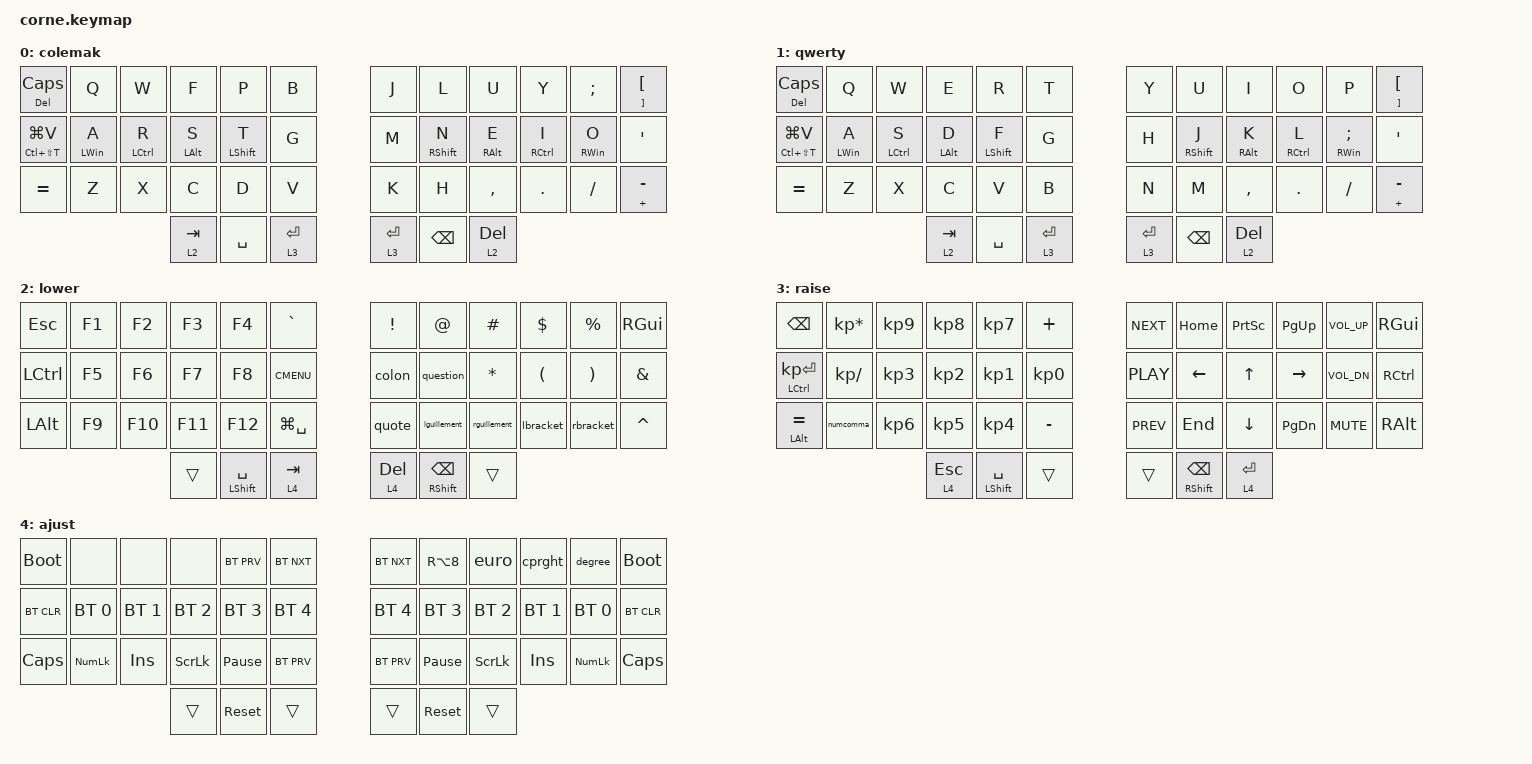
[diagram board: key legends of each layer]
/*
 * Copyright (c) 2020 The ZMK Contributors
 *
 * SPDX-License-Identifier: MIT
 */

#include <behaviors.dtsi>
#include <dt-bindings/zmk/keys.h>
#include <dt-bindings/zmk/bt.h>
#include <dt-bindings/zmk/ext_power.h>

#define colemak   0
#define qwerty 1
#define lower  2
#define raise  3
#define adjust 4

&lt {
    quick_tap_ms = <220>;
};

&mt {
    quick_tap_ms = <220>;
};
/ {
    macros {
        numdot: numdot {
            label = "ZM_numdot";
            compatible = "zmk,behavior-macro";
            #binding-cells = <0>;
            wait-ms = <40>;
            tap-ms = <40>;
            bindings =
                <&macro_press>,
                <&kp LALT>,
                <&macro_tap>,
                <&kp KP_N4 &kp KP_N6>,
                <&macro_release>,
                <&kp LALT>;
        };
        grtsgn: grtsgn {
            label = "ZM_grtsgn";
            compatible = "zmk,behavior-macro";
            #binding-cells = <0>;
            wait-ms = <40>;
            tap-ms = <40>;
            bindings =
                <&macro_press>,
                <&kp LALT>,
                <&macro_tap>,
                <&kp KP_N6 &kp KP_N2>,
                <&macro_release>,
                <&kp LALT>;
        };
          cprght: cprght {
            label = "ZM_cprght";
            compatible = "zmk,behavior-macro";
            #binding-cells = <0>;
            wait-ms = <40>;
            tap-ms = <40>;
            bindings =
                <&macro_press>,
                <&kp LALT>,
                <&macro_tap>,
                <&kp KP_N0 &kp KP_N1 &kp KP_N6 &kp KP_N9>,
                <&macro_release>,
                <&kp LALT>;
        };
        degree: degree {
            label = "ZM_degree";
            compatible = "zmk,behavior-macro";
            #binding-cells = <0>;
            wait-ms = <40>;
            tap-ms = <40>;
            bindings =
                <&macro_press>,
                <&kp LALT>,
                <&macro_tap>,
                <&kp KP_N0 &kp KP_N1 &kp KP_N7 &kp KP_N6>,
                <&macro_release>,
                <&kp LALT>;
        };
        quote: quote {
            label = "ZM_quote";
            compatible = "zmk,behavior-macro";
            #binding-cells = <0>;
            wait-ms = <40>;
            tap-ms = <40>;
            bindings =
                <&macro_press>,
                <&kp LALT>,
                <&macro_tap>,
                <&kp KP_N3 &kp KP_N4>,
                <&macro_release>,
                <&kp LALT>;
        };
	euro: euro {
            label = "ZM_euro";
            compatible = "zmk,behavior-macro";
            #binding-cells = <0>;
            wait-ms = <40>;
            tap-ms = <40>;
            bindings =
                <&macro_press>,
                <&kp LALT>,
                <&macro_tap>,
                <&kp KP_N0 &kp KP_N1 &kp KP_N2 &kp KP_N8>,
                <&macro_release>,
                <&kp LALT>;
	    };
	numcomma: numcomma {
            label = "ZM_numcomma";
            compatible = "zmk,behavior-macro";
            #binding-cells = <0>;
            wait-ms = <40>;
            tap-ms = <40>;
            bindings =
                <&macro_press>,
                <&kp LALT>,
                <&macro_tap>,
                <&kp KP_N4 &kp KP_N4>,
                <&macro_release>,
                <&kp LALT>;
	    };
	lguillement: lguillement {
            label = "ZM_lguillement";
            compatible = "zmk,behavior-macro";
            #binding-cells = <0>;
            wait-ms = <40>;
            tap-ms = <40>;
            bindings =
                <&macro_press>,
                <&kp LALT>,
                <&macro_tap>,
                <&kp KP_N0 &kp KP_N1 &kp KP_N7 &kp KP_N1>,
                <&macro_release>,
                <&kp LALT>;
	    };
	rguillement: rguillement {
            label = "ZM_rguillement";
            compatible = "zmk,behavior-macro";
            #binding-cells = <0>;
            wait-ms = <40>;
            tap-ms = <40>;
            bindings =
                <&macro_press>,
                <&kp LALT>,
                <&macro_tap>,
                <&kp KP_N0 &kp KP_N1 &kp KP_N8 &kp KP_N7>,
                <&macro_release>,
                <&kp LALT>;
	    };
	lbracket: lbracket {
            label = "ZM_lbracket";
            compatible = "zmk,behavior-macro";
            #binding-cells = <0>;
            wait-ms = <40>;
            tap-ms = <40>;
            bindings =
                <&macro_press>,
                <&kp LALT>,
                <&macro_tap>,
                <&kp KP_N1 &kp KP_N2 &kp KP_N3>,
                <&macro_release>,
                <&kp LALT>;
	    };
	rbracket: rbracket {
            label = "ZM_rbracket";
            compatible = "zmk,behavior-macro";
            #binding-cells = <0>;
            wait-ms = <40>;
            tap-ms = <40>;
            bindings =
                <&macro_press>,
                <&kp LALT>,
                <&macro_tap>,
                <&kp KP_N1 &kp KP_N2 &kp KP_N5>,
                <&macro_release>,
                <&kp LALT>;
	    };
	colon: colon {
            label = "ZM_colon";
            compatible = "zmk,behavior-macro";
            #binding-cells = <0>;
            wait-ms = <40>;
            tap-ms = <40>;
            bindings =
                <&macro_press>,
                <&kp LALT>,
                <&macro_tap>,
                <&kp KP_N5 &kp KP_N8>,
                <&macro_release>,
                <&kp LALT>;
	    };
	semicolon: semicolon {
            label = "ZM_semicolon";
            compatible = "zmk,behavior-macro";
            #binding-cells = <0>;
            wait-ms = <40>;
            tap-ms = <40>;
            bindings =
                <&macro_press>,
                <&kp LALT>,
                <&macro_tap>,
                <&kp KP_N5 &kp KP_N9>,
                <&macro_release>,
                <&kp LALT>;
	    };
	question: question {
            label = "ZM_question";
            compatible = "zmk,behavior-macro";
            #binding-cells = <0>;
            wait-ms = <40>;
            tap-ms = <40>;
            bindings =
                <&macro_press>,
                <&kp LALT>,
                <&macro_tap>,
                <&kp KP_N6 &kp KP_N3>,
                <&macro_release>,
                <&kp LALT>;
	    };
         lsqbracket: lsqbracket {
            label = "ZM_lsqbracket";
            compatible = "zmk,behavior-macro";
            #binding-cells = <0>;
            wait-ms = <40>;
            tap-ms = <40>;
            bindings =
                <&macro_press>,
                <&kp LALT>,
                <&macro_tap>,
                <&kp KP_N9 &kp KP_N1>,
                <&macro_release>,
                <&kp LALT>;
	    };
         rsqbracket: rsqbracket {
            label = "ZM_rsqbracket";
            compatible = "zmk,behavior-macro";
            #binding-cells = <0>;
            wait-ms = <40>;
            tap-ms = <40>;
            bindings =
                <&macro_press>,
                <&kp LALT>,
                <&macro_tap>,
                <&kp KP_N9 &kp KP_N3>,
                <&macro_release>,
                <&kp LALT>;
	    };
    };
};

/ {
    combos {
            compatible = "zmk,combos";
            combo_grave {
                timeout-ms = <50>;
                key-positions = <4 5>;
                bindings = <&kp GRAVE>;
        };
            combo_esc {
                timeout-ms = <50>;
                key-positions = <18 19>;
                bindings = <&kp ESC>;
        };
            combo_dot {
                timeout-ms = <50>;
                key-positions = <15 16>;
                bindings = <&numdot>;
        };
            combo_calc {
                timeout-ms = <50>;
                key-positions = <17 29>;
                bindings = <&kp C_AL_CALC>;
        };
            combo_del {
                timeout-ms = <50>;
                key-positions = <16 17>;
                bindings = <&kp DEL>;
        };
            combo_lsqbracket {
                timeout-ms = <50>;
                key-positions = <20 21>;
                bindings = <&lsqbracket>;
        };
            combo_rsqbracket {
                timeout-ms = <50>;
                key-positions = <32 33>;
                bindings = <&rsqbracket>;
        };
            combo_numcomma {
                timeout-ms = <50>;
                key-positions = <31 32>;
                bindings = <&numcomma>;
        };
            combo_numlock {
                timeout-ms = <50>;
                key-positions = <12 13>;
                bindings = <&kp KP_NUM>;
        };
	    combo_capslock {
                timeout-ms = <50>;
                key-positions = <22 23>;
                bindings = <&kp CAPS>;
        };
            combo_copy {
                timeout-ms = <50>;
                key-positions = <27 28>;
                bindings = <&kp LC(C)>;
        }; 
            combo_cut {
                timeout-ms = <50>;
                key-positions = <3 4>;
                bindings = <&kp LC(X)>;
        };
            combo_paste {
                timeout-ms = <50>;
                key-positions = <14 15>;
                bindings = <&kp LC(V)>;
        };     
    };
};

/ {
    behaviors {
        hml: hml {
            compatible = "zmk,behavior-hold-tap";
            label = "HML";
            bindings = <&kp>, <&kp>;

            #binding-cells = <2>;
            tapping-term-ms = <200>;
            quick-tap-ms = <150>;
            flavor = "balanced";
            hold-trigger-key-positions = <36 37 38 6 7 8 9 10 11 18 19 20 21 22 23 30 31 32 33 34 35 39 40 41>;
            hold-trigger-on-release;
        };

        hmr: hmr {
            compatible = "zmk,behavior-hold-tap";
            label = "HMR";
            bindings = <&kp>, <&kp>;

            #binding-cells = <2>;
            tapping-term-ms = <200>;
            quick-tap-ms = <150>;
            flavor = "balanced";
            hold-trigger-on-release;
            hold-trigger-key-positions = <0 0 1 2 3 4 5 12 13 14 15 16 17 24 25 26 27 28 29 36 37 38 39 40 41>;
        };
    };
    keymap {
        compatible = "zmk,keymap";
		
// ▄▄▄▄▄▄▄▄▄▄▄▄▄▄▄▄▄▄▄▄▄▄▄▄▄▄▄▄▄▄▄▄▄▄▄▄▄▄▄▄▄▄▄▄▄▄▄▄▄▄▄▄▄▄▄▄▄▄▄▄▄▄▄▄▄▄▄▄▄▄▄▄▄▄▄▄▄▄▄▄▄▄▄▄▄▄▄▄▄▄▄▄▄▄▄▄▄▄▄▄▄▄▄▄▄▄▄▄▄▄▄▄▄▄

colemak {
	label = "colemak";
	bindings = <
&mt DELETE CAPS    &kp Q            &kp W                &kp F            &kp P              &kp B        &kp J      &kp L               &kp U             &kp Y                 &kp SEMI          &mt RIGHT_BRACKET LEFT_BRACKET
&mt LC(LS(T)) LG(V)  &hml LEFT_WIN A  &hml LEFT_CONTROL R  &hml LEFT_ALT S  &hml LEFT_SHIFT T  &kp G        &kp M      &hmr RIGHT_SHIFT N  &hmr RIGHT_ALT E  &hmr RIGHT_CONTROL I  &hmr RIGHT_WIN O  &kp SQT
&kp EQUAL            &kp Z            &kp X                &kp C            &kp D              &kp V        &kp K      &kp H               &kp COMMA         &kp DOT               &kp FSLH          &mt PLUS MINUS
                                                           &lt 2 TAB        &kp SPACE        &lt 3 RET    &lt 3 RET  &kp BACKSPACE     &lt 2 DEL
            >;
        };

qwerty {
	label = "qwerty";
    bindings = <
&mt DELETE CAPS    &kp Q            &kp W                &kp E            &kp R              &kp T        &kp Y      &kp U               &kp I             &kp O                 &kp P                     &mt RIGHT_BRACKET LEFT_BRACKET
&mt LC(LS(T)) LG(V)  &hml LEFT_WIN A  &hml LEFT_CONTROL S  &hml LEFT_ALT D  &hml LEFT_SHIFT F  &kp G        &kp H      &hmr RIGHT_SHIFT J  &hmr RIGHT_ALT K  &hmr RIGHT_CONTROL L  &hmr RIGHT_WIN SEMICOLON  &kp SQT
&kp EQUAL            &kp Z            &kp X                &kp C            &kp V              &kp B        &kp N      &kp M               &kp COMMA         &kp DOT               &kp FSLH                  &mt PLUS MINUS
                                                           &lt 2 TAB        &kp SPACE        &lt 3 RET    &lt 3 RET  &kp BACKSPACE     &lt 2 DEL
            >;
        };

lower_layer {
	label="lower";
	bindings = <
&kp ESC    &kp F1   &kp F2    &kp F3  	   &kp F4    	     &kp GRAVE       &kp EXCL   &kp AT           &kp HASH       &kp DOLLAR   &kp PERCENT   &kp RGUI
&kp LCTRL   &kp F5   &kp F6    &kp F7      &kp F8    	     &kp K_CMENU     &colon     &question        &kp STAR       &kp LPAR     &kp RPAR      &kp AMPS
&kp LALT    &kp F9   &kp F10   &kp F11     &kp F12   	     &kp LG(SPACE)   &quote     &lguillement     &rguillement   &lbracket    &rbracket     &kp CARET
			       &trans   &mt LSHFT SPACE   &lt 4 TAB   	     &lt 4 DEL &mt RSHFT BSPC   &trans 
            >;
        };
		
// ▄▄▄▄▄▄▄▄▄▄▄▄▄▄▄▄▄▄▄▄▄▄▄▄▄▄▄▄▄▄▄▄▄▄▄▄▄▄▄▄▄▄▄▄▄▄▄▄▄▄▄▄▄▄▄▄▄▄▄▄▄▄▄▄▄▄▄▄▄▄▄▄▄▄▄▄▄▄▄▄▄▄▄▄▄▄▄▄▄▄▄▄▄▄▄▄▄▄▄▄▄▄▄▄▄▄▄▄▄▄▄▄▄▄		

raise_layer {
	label= "raise";
	bindings = <
&kp BSPC             &kp KP_MULTIPLY   &kp KP_N9   &kp KP_N8   &kp KP_N7         &kp PLUS    &kp C_NEXT   &kp HOME         &kp PSCRN   &kp PG_UP   &kp C_VOL_UP   &kp RGUI
&mt LCTRL KP_ENTER   &kp KP_SLASH      &kp KP_N3   &kp KP_N2   &kp KP_N1         &kp KP_N0   &kp C_PLAY   &kp LEFT         &kp UP      &kp RIGHT   &kp C_VOL_DN   &kp RCTRL 
&mt LALT EQUAL       &numcomma 	       &kp KP_N6   &kp KP_N5   &kp KP_N4         &kp MINUS   &kp C_PREV   &kp END          &kp DOWN    &kp PG_DN   &kp C_MUTE     &kp RALT
				                   &lt 4 ESC      &mt LSHFT SPACE   &trans    	 &trans      &mt RSHFT BSPC  &lt 4 RET 
            >;
        };

// ▄▄▄▄▄▄▄▄▄▄▄▄▄▄▄▄▄▄▄▄▄▄▄▄▄▄▄▄▄▄▄▄▄▄▄▄▄▄▄▄▄▄▄▄▄▄▄▄▄▄▄▄▄▄▄▄▄▄▄▄▄▄▄▄▄▄▄▄▄▄▄▄▄▄▄▄▄▄▄▄▄▄▄▄▄▄▄▄▄▄▄▄▄▄▄▄▄▄▄▄▄▄▄▄▄▄▄▄▄▄▄▄▄▄


adjust_layer {
	label = "ajust";
	bindings = <
&bootloader   &none          &none          &none          &bt BT_PRV        &bt BT_NXT     &bt BT_NXT    &kp RA(N8)        &euro          &cprght        &degree        &bootloader
&bt BT_CLR    &bt BT_SEL 0   &bt BT_SEL 1   &bt BT_SEL 2   &bt BT_SEL 3      &bt BT_SEL 4   &bt BT_SEL 4  &bt BT_SEL 3      &bt BT_SEL 2   &bt BT_SEL 1   &bt BT_SEL 0   &bt BT_CLR
&kp CAPS      &kp KP_NUM     &kp INS        &kp SLCK       &kp PAUSE_BREAK   &bt BT_PRV     &bt BT_PRV    &kp PAUSE_BREAK   &kp SLCK       &kp INS        &kp KP_NUM     &kp CAPS
					    &trans         &sys_reset        &trans         &trans        &sys_reset        &trans
            >;
        };
    };
};
